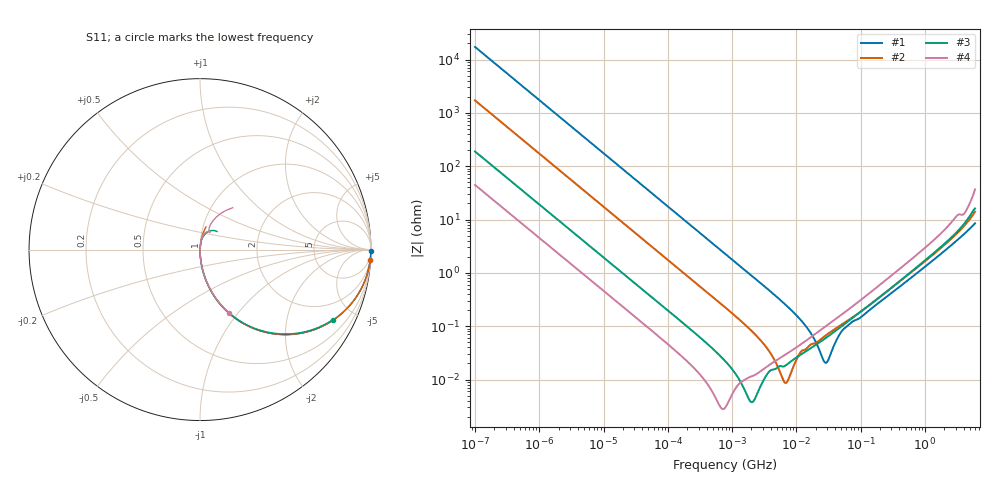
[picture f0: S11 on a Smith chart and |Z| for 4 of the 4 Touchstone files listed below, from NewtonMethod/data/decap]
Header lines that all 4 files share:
!These Parameters are Measured in Series Mode Connection
!  o--ll--o
!Port1  Port2
!  o------o
!Operation Temp=25[degC], DC Bias Voltage=0[V]
!Freq. Start=100[Hz] Stop=6[GHz], 401[Steps]
# Hz S RI R 50
!Freq.(Hz) S11(Real) S11(Imag) S21(Real) S21(Imag) S12(Real) S12(Imag) S22(Real) S22(Imag)
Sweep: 100 Hz to 6 GHz
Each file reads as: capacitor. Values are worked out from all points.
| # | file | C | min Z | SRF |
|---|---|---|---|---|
| 1 | 01GRM155R61H104KE14_DC0V_25degC_series.s2p | 92.3 nF | 20.5 mohm | 29.1 MHz |
| 2 | 04GRM188R60J105KA01_DC0V_25degC_series.s2p | 928 nF | 8.66 mohm | 6.96 MHz |
| 3 | 08GRM21BR61C106KE15_DC0V_25degC_series.s2p | 8.41 uF | 3.77 mohm | 2.091 MHz |
| 4 | 11GRM31CR60J476KE19_DC0V_25degC_series.s2p | 35.7 uF | 2.79 mohm | 749.3 kHz |
